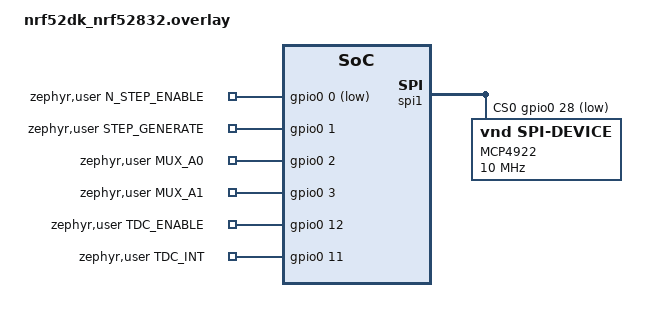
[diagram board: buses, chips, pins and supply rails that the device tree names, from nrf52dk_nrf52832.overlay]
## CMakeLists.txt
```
cmake_minimum_required(VERSION 3.20.0)
find_package(Zephyr REQUIRED HINTS $ENV{ZEPHYR_BASE})

project(Time_Domain_Measurement)

target_sources(app PRIVATE src/main.c)
```

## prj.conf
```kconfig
CONFIG_SPI=y
CONFIG_GPIO=y
CONFIG_GPIO_NRFX=y

# Use internal RC oscillator instead of 32.768 kHz crystal
CONFIG_CLOCK_CONTROL_NRF_K32SRC_RC=y

# Select expected accuracy (pick one)
CONFIG_CLOCK_CONTROL_NRF_K32SRC_500PPM=y
# or for BLE-heavy apps:
# CONFIG_CLOCK_CONTROL_NRF_K32SRC_250PPM=y
```

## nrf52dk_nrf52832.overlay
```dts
/ {
    zephyr,user {
        N_STEP_ENABLE-gpios = <&gpio0 0 GPIO_ACTIVE_LOW>;
        STEP_GENERATE-gpios = <&gpio0 1 0>;
        MUX_A0-gpios = <&gpio0 2 0>;
        MUX_A1-gpios = <&gpio0 3 0>;

        TDC_ENABLE-gpios = <&gpio0 12 0>;
        TDC_INT-gpios    = <&gpio0 11 0>;
    };
};

&spi1 {
    status = "okay";
    compatible = "nordic,nrf-spi";

    /* CS line (example: P0.28 active low) */
    cs-gpios = <&gpio0 28 GPIO_ACTIVE_LOW>;

    /* pinctrl-0 / pinctrl-1 if your board needs it (same as lesson) */

    : mcp4922@0 {
        compatible = "vnd,spi-device";   /* generic SPI device binding */
        reg = <0>;                       /* slave select index */
        spi-max-frequency = <10000000>;  /* MCP4922 supports up to 20 MHz */
        label = "MCP4922";
    };
};
```

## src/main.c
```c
#include <zephyr/kernel.h>
#include <zephyr/device.h>
#include <zephyr/drivers/spi.h>
#include <zephyr/drivers/gpio.h>
#include <zephyr/logging/log.h>
#include <stdbool.h>

#ifndef USER_NODE
#define USER_NODE DT_PATH(zephyr_user)
#endif

static const struct gpio_dt_spec mux_a0 = GPIO_DT_SPEC_GET(USER_NODE, mux_a0_gpios);
static const struct gpio_dt_spec mux_a1 = GPIO_DT_SPEC_GET(USER_NODE, mux_a1_gpios);
static const struct gpio_dt_spec n_step_enable = GPIO_DT_SPEC_GET(USER_NODE, n_step_enable_gpios);
static const struct gpio_dt_spec step_generate = GPIO_DT_SPEC_GET(USER_NODE, step_generate_gpios);

LOG_MODULE_REGISTER(main, LOG_LEVEL_INF);

#define SPIOP      SPI_WORD_SET(8) | SPI_TRANSFER_MSB

struct spi_dt_spec spispec = SPI_DT_SPEC_GET(DT_NODELABEL(mcp4922), SPIOP, 0);


bool sensor_init(void)
{
    int ret;

    // Initialize 
    if (!gpio_is_ready_dt(&mux_a0)) {
        return false;
    }
    
    ret = gpio_pin_configure_dt(&mux_a0, GPIO_OUTPUT_INACTIVE);

    if (ret < 0) {
        return false;
    }

    if (!gpio_is_ready_dt(&mux_a1)) {
        return false;
    }
    
    ret = gpio_pin_configure_dt(&mux_a1, GPIO_OUTPUT_INACTIVE);

    if (ret < 0) {
        return false;
    }

    if (!gpio_is_ready_dt(&n_step_enable)) {
        return false;
    }
    
    ret = gpio_pin_configure_dt(&n_step_enable, GPIO_OUTPUT_INACTIVE);

    if (ret < 0) {
        return false;
    }

        if (!gpio_is_ready_dt(&step_generate)) {
        return false;
    }
    
    ret = gpio_pin_configure_dt(&step_generate, GPIO_OUTPUT_INACTIVE);

    if (ret < 0) {
        return false;
    }

    return true;
}

int main(void)
{
    sensor_init();
    
    int err = spi_is_ready_dt(&spispec);
    if (!err) {
	    LOG_ERR("Error: SPI device is not ready, err: %d", err);
        return 0;
    }

    gpio_pin_set_dt(&n_step_enable, 1); //Set HIGH
    k_msleep(200);

    while (1) {
        gpio_pin_set_dt(&step_generate, 1); //Set HIGH
        k_msleep(200);
        gpio_pin_set_dt(&step_generate, 0); //Set LOW
        k_msleep(1000);
        gpio_pin_set_dt(&mux_a0, 1); //Set High
        gpio_pin_set_dt(&mux_a1, 1); //Set High
        k_msleep(200);
        gpio_pin_set_dt(&step_generate, 1); //Set HIGH
        k_msleep(200);
        gpio_pin_set_dt(&step_generate, 0); //Set LOW
        k_msleep(1000);
        gpio_pin_set_dt(&mux_a0, 0); //Set High
        gpio_pin_set_dt(&mux_a1, 0); //Set High
        k_msleep(200);
    }



}
```
